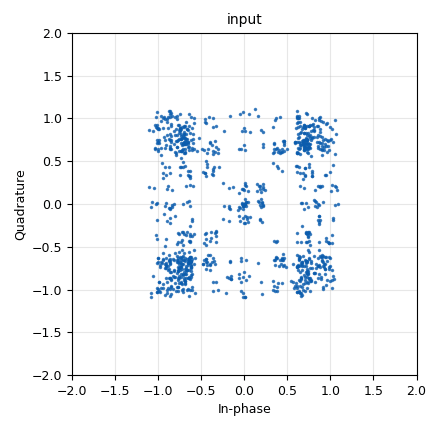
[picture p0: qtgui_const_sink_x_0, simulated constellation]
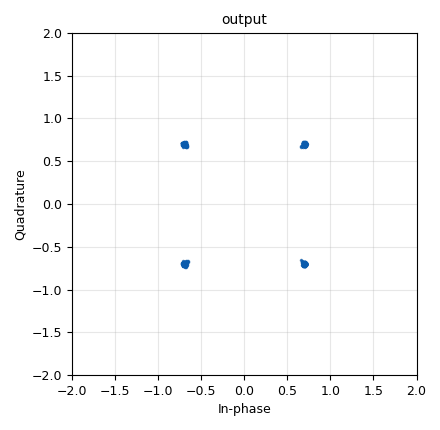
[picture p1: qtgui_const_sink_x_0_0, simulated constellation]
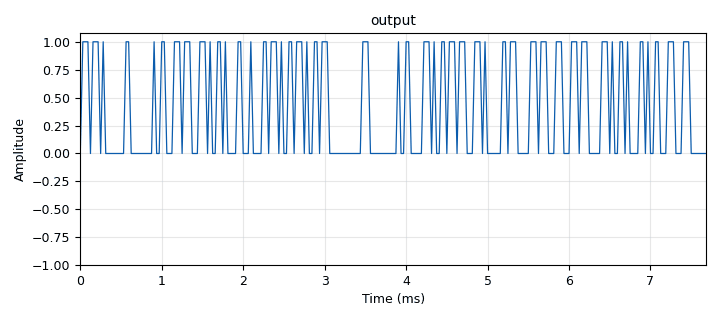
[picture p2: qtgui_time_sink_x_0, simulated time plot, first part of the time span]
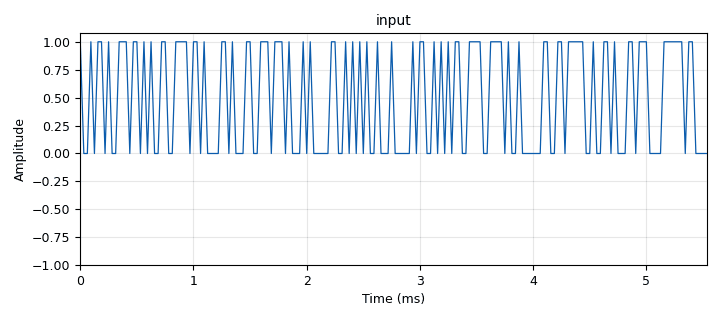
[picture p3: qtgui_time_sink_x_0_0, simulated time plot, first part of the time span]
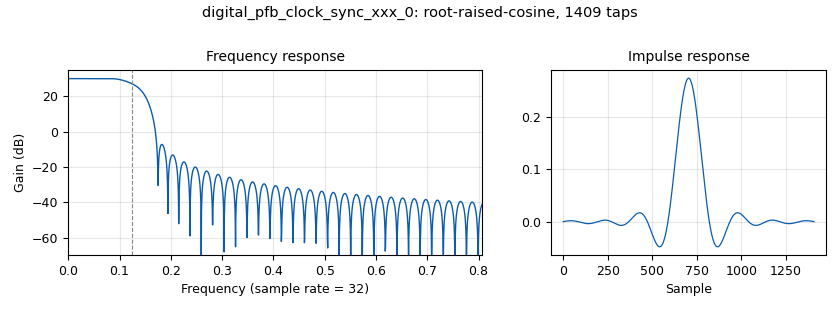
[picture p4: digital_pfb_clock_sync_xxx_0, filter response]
options:
  parameters:
    generate_options: qt_gui
    id: transmitter_top
    output_language: python
    title: transmitter
  states: {}

blocks:
- name: excess_bw
  id: variable
  parameters:
    value: '350e-3'
  states: {}
- name: nfilts
  id: variable
  parameters:
    value: '32'
  states: {}
- name: qpsk
  id: variable_constellation_rect
  parameters:
    const_points: '[-0.707-0.707j, -0.707+0.707j, 0.707+0.707j, 0.707-0.707j]'
    imag_sect: '2'
    real_sect: '2'
    rot_sym: '4'
    sym_map: '[0, 1, 3, 2]'
    w_imag_sect: '1'
    w_real_sect: '1'
  states: {}
- name: rrc_taps
  id: variable
  parameters:
    value: firdes.root_raised_cosine(nfilts,nfilts,1.0/float(sps),excess_bw,11*sps*nfilts)
  states: {}
- name: samp_rate
  id: variable
  parameters:
    value: '32000'
  states: {}
- name: sps
  id: variable
  parameters:
    value: '4'
  states: {}
- name: analog_random_source_x_0
  id: analog_random_source_x
  parameters:
    max: '256'
    min: '0'
    num_samps: '10000'
    repeat: 'True'
    type: byte
  states: {}
- name: blocks_char_to_float_0
  id: blocks_char_to_float
  parameters:
    scale: '1'
  states: {}
- name: blocks_char_to_float_0_0
  id: blocks_char_to_float
  parameters:
    scale: '1'
  states: {}
- name: blocks_throttle2_0
  id: blocks_throttle2
  parameters:
    samples_per_second: samp_rate
    type: complex
  states: {}
- name: blocks_unpack_k_bits_bb_0
  id: blocks_unpack_k_bits_bb
  parameters:
    k: '2'
  states: {}
- name: blocks_unpack_k_bits_bb_0_0
  id: blocks_unpack_k_bits_bb
  parameters:
    k: '2'
  states: {}
- name: channels_channel_model_0
  id: channels_channel_model
  parameters:
    epsilon: '1.0'
    freq_offset: '0.0'
    noise_voltage: '100e-6'
    seed: '0'
    taps: '1.0'
  states: {}
- name: digital_constellation_modulator_0
  id: digital_constellation_modulator
  parameters:
    constellation: qpsk
    differential: 'True'
    excess_bw: '0.35'
    samples_per_symbol: '4'
  states: {}
- name: digital_costas_loop_cc_0
  id: digital_costas_loop_cc
  parameters:
    order: '4'
    w: '62.8e-3'
  states: {}
- name: digital_diff_decoder_bb_0
  id: digital_diff_decoder_bb
  parameters:
    coding: digital.DIFF_DIFFERENTIAL
    modulus: '4'
  states: {}
- name: digital_map_bb_0
  id: digital_map_bb
  parameters:
    map: '[0, 1, 3, 2]'
  states: {}
- name: digital_pfb_clock_sync_xxx_0
  id: digital_pfb_clock_sync_xxx
  parameters:
    filter_size: '32'
    init_phase: '16'
    loop_bw: '62.8e-3'
    max_dev: '1.5'
    osps: '1'
    sps: sps*1.00
    taps: rrc_taps
    type: ccf
  states: {}
- name: digital_psk_demod_0
  id: digital_psk_demod
  parameters:
    constellation_points: '4'
    differential: 'True'
    excess_bw: '0.35'
    freq_bw: 6.28/100.0
    mod_code: '"gray"'
    phase_bw: 6.28/100.0
    samples_per_symbol: '4'
    timing_bw: 6.28/100.0
  states: {}
- name: qtgui_const_sink_x_0
  id: qtgui_const_sink_x
  parameters:
    gui_hint: 2,0,1,1
    name: '"input"'
    size: '1024'
    type: complex
  states: {}
- name: qtgui_const_sink_x_0_0
  id: qtgui_const_sink_x
  parameters:
    gui_hint: 2,1,1,1
    name: '"output"'
    size: '1024'
    type: complex
  states: {}
- name: qtgui_time_sink_x_0
  id: qtgui_time_sink_x
  parameters:
    gui_hint: 1,0,1,2
    name: '"output"'
    size: '1024'
    srate: samp_rate
    type: float
  states: {}
- name: qtgui_time_sink_x_0_0
  id: qtgui_time_sink_x
  parameters:
    gui_hint: 0,0,1,2
    name: '"input"'
    size: '1024'
    srate: samp_rate
    type: float
  states: {}

connections:
- [analog_random_source_x_0, '0', blocks_unpack_k_bits_bb_0_0, '0']
- [analog_random_source_x_0, '0', digital_constellation_modulator_0, '0']
- [blocks_char_to_float_0, '0', qtgui_time_sink_x_0, '0']
- [blocks_char_to_float_0_0, '0', qtgui_time_sink_x_0_0, '0']
- [blocks_throttle2_0, '0', channels_channel_model_0, '0']
- [blocks_unpack_k_bits_bb_0, '0', blocks_char_to_float_0, '0']
- [blocks_unpack_k_bits_bb_0_0, '0', blocks_char_to_float_0_0, '0']
- [channels_channel_model_0, '0', digital_pfb_clock_sync_xxx_0, '0']
- [digital_constellation_modulator_0, '0', blocks_throttle2_0, '0']
- [digital_constellation_modulator_0, '0', qtgui_const_sink_x_0, '0']
- [digital_costas_loop_cc_0, '0', digital_psk_demod_0, '0']
- [digital_costas_loop_cc_0, '0', qtgui_const_sink_x_0_0, '0']
- [digital_diff_decoder_bb_0, '0', blocks_unpack_k_bits_bb_0, '0']
- [digital_map_bb_0, '0', digital_diff_decoder_bb_0, '0']
- [digital_pfb_clock_sync_xxx_0, '0', digital_costas_loop_cc_0, '0']
- [digital_psk_demod_0, '0', digital_map_bb_0, '0']

metadata:
  file_format: 1
  grc_version: 3.10.7.0
